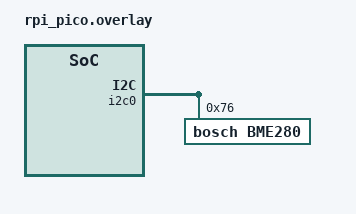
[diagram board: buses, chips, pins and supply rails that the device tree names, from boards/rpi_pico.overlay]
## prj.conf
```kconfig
CONFIG_SERIAL=y
CONFIG_GPIO=y
CONFIG_SENSOR=y
CONFIG_PINCTRL=y

CONFIG_CPLUSPLUS=y
CONFIG_NEWLIB_LIBC=y
CONFIG_LIB_CPLUSPLUS=y
CONFIG_NEWLIB_LIBC_FLOAT_PRINTF=y
CONFIG_STDOUT_CONSOLE=y
CONFIG_PRINTK=y
CONFIG_LOG=y
CONFIG_LOG_PRINTK=y
CONFIG_LOG_MODE_IMMEDIATE=y

CONFIG_I2C=y
CONFIG_BME280=y
```

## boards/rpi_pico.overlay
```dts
&pinctrl {

        myi2c: myi2c {
            group1 {
                pinmux = <I2C0_SDA_P12>, <I2C0_SCL_P13>;
                input-enable;
                input-schmitt-enable;
            };
        };
};

&i2c0 {
    status = "okay";
    pinctrl-0 = <&myi2c>;

	bme280: bme280@76 {
		compatible = "bosch,bme280";
		reg = <0x76>;
	};
};
```

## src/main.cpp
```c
#include <zephyr/drivers/gpio.h>
#include <zephyr/kernel.h>
#include <zephyr/devicetree.h>
#include <zephyr/device.h>
#include "zephyr/drivers/i2c.h"
#include "drivers/bme280/bme280.hpp"
#include <zephyr/drivers/sensor.h>
#include <string>


#define BME280     DT_NODELABEL(bme280)

int main()
{
    const struct device *bme280_dev = DEVICE_DT_GET(BME280);
    //drivers::bme280::BME280Sensor bme280(bme280_dev);
    k_msleep(5000);
    if (!device_is_ready(bme280_dev)) {
        printk("\nError: Device \"%s\" is not ready; "
            "check the driver initialization logs for errors.\n",
            bme280_dev->name);
    } else {
        printk("Found device \"%s\", getting sensor data\n", bme280_dev->name);
    }
    struct sensor_value press;
    struct sensor_value temp;
    if (sensor_sample_fetch(bme280_dev) < 0) {
        printk("Could not fetch data from \"%s\"\n", bme280_dev->name);
        return -1;
    }
    while (1) {
        sensor_sample_fetch(bme280_dev);
        sensor_channel_get(bme280_dev, SENSOR_CHAN_PRESS, &press);
        sensor_channel_get(bme280_dev, SENSOR_CHAN_AMBIENT_TEMP, &temp);
        printk("\nTemperature: %d,%d    Pressure: %d,%d", temp.val1, temp.val2, press.val1, press.val2);
        k_msleep(300);
    }
/*     while(1) {
        printk("test");
    } */
    return 0;    
}
```
